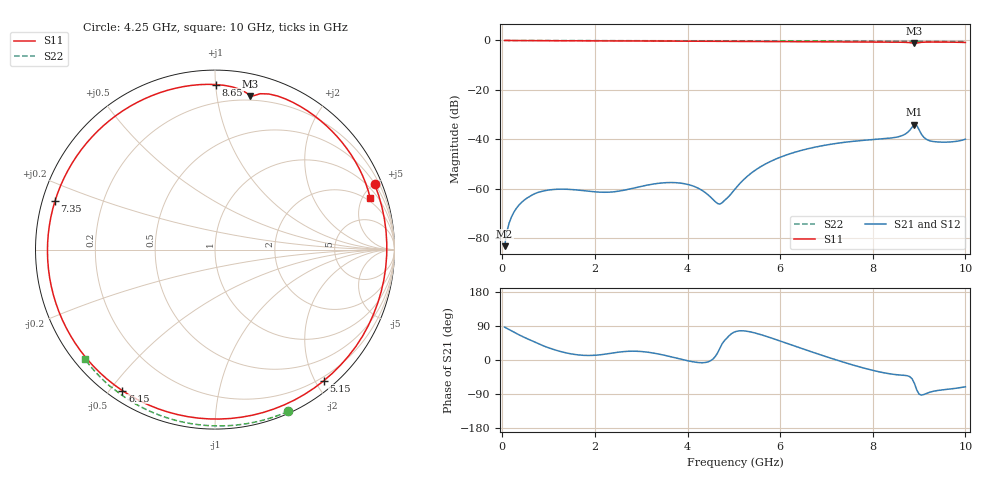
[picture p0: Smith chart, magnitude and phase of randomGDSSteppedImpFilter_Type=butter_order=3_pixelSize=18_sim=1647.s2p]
! freq	dB(S11)	phase(S11)	dB(S12)	phase(S12)
!  dB(S21)	phase(S21)	dB(S22)	phase(S22)
!S-par simulation data
#  GHz  S  DB  R 50
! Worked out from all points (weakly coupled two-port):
!   200 points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, 50 MHz to 10 GHz, reference 50 ohm
!   highest |S21| = -34.01 dB at 8.9 GHz (marker M1); lowest = -83.1 dB at 50 MHz (marker M2)
!   lowest |S11| = -1.1 dB at 8.9 GHz (marker M3), VSWR 15.19, Z = 8.44 + j62.2 ohm
!   |S11| at or under -10 dB: nowhere
!   |S22| runs from -0.5 to 0.0 dB; largest |S21 - S12| = 0
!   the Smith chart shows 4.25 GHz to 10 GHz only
!   S11 on the Smith chart (normalised r, x): 4.25 GHz: 0.52, +5.01; 5.15 GHz: 0.14, -2.12; 6.15 GHz: 0.04, -0.54; 7.35 GHz: 0.04, +0.15; 8.65 GHz: 0.08, +1.00; 10 GHz: 1.70, +5.71
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0.05  -0.01 -5.9  -83.11 86.7  -83.11 86.7  -0.00 -0.8
0.3  -0.05 -34.8  -67.93 70.3  -67.93 70.3  -0.01 -4.9
0.8  -0.10 -87.1  -61.23 41.8  -61.23 41.8  -0.02 -12.9
1.3  -0.13 -130.3  -60.08 21.1  -60.08 21.1  -0.03 -20.9
1.75  -0.14 -163.3  -60.67 12.4  -60.67 12.4  -0.04 -28.0
2.5  -0.17 147.4  -60.92 20.5  -60.92 20.5  -0.05 -39.7
3  -0.21 114.6  -58.95 22.4  -58.95 22.4  -0.06 -47.3
3.4  -0.24 87.0  -57.66 15.2  -57.66 15.2  -0.07 -53.3
3.8  -0.29 57.6  -57.53 3.9  -57.53 3.9  -0.08 -59.2
4.25  -0.34 22.3  -59.88 -6.9  -59.88 -6.9  -0.09 -65.7
4.7  -0.40 -14.2  -66.11 31.4  -66.11 31.4  -0.11 -72.1
5.05  -0.44 -42.5  -59.49 75.4  -59.49 75.4  -0.12 -77.0
5.15  -0.45 -50.4  -57.39 77.1  -57.39 77.1  -0.12 -78.4
5.65  -0.50 -88.4  -50.24 64.4  -50.24 64.4  -0.14 -85.2
6.15  -0.54 -123.3  -46.16 43.7  -46.16 43.7  -0.16 -91.9
6.7  -0.58 -158.4  -43.32 20.7  -43.32 20.7  -0.19 -99.1
7.35  -0.61 163.1  -41.24 -5.1  -41.24 -5.1  -0.23 -107.4
8.35  -0.67 106.6  -39.51 -36.1  -39.51 -36.1  -0.31 -119.9
8.65  -0.73 89.7  -38.32 -40.2  -38.32 -40.2  -0.34 -123.6
8.9  -1.15 77.0  -34.01 -62.0  -34.01 -62.0  -0.36 -126.6
9.25  -0.64 59.1  -40.63 -84.4  -40.63 -84.4  -0.39 -131.0
10  -0.81 18.3  -39.89 -70.6  -39.89 -70.6  -0.47 -140.1
